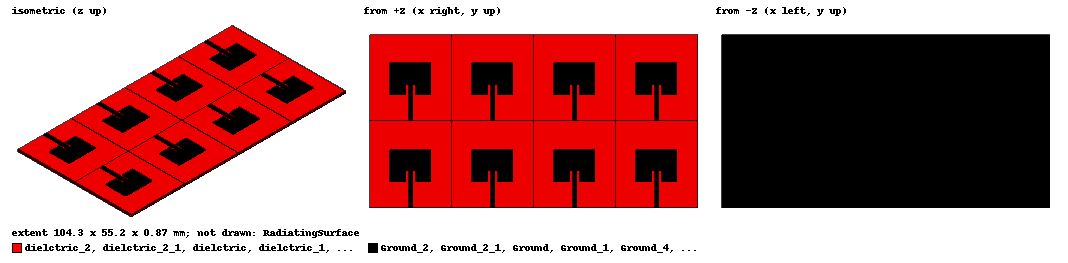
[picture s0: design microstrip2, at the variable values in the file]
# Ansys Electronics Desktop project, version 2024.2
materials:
  vacuum: permittivity=1
  copper: permeability=0.999991 conductivity=58000000
  FR4_epoxy: permittivity=4.4 dielectric_loss_tangent=0.02

design microstrip2 (HFSS, HFSS Modal Network, model units mm)
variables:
  T_diel = 0.8mm
  L = 9.99mm
  W = 13.04mm
  T = 0.035mm
  L_feed = 11.74mm
  W_feed = 1.53mm
  W_g = 2*W
  L_g = 1.5*L_feed+L
  T_g = T
  partial = 0.35
  L_offset = partial*L/2
  W_slot = 2*W_feed
  L_slot = L/2-L_offset
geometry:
  Ground [copper] = box(corner=(-W_g/2, 0mm, 0mm), size=(W_g, L_g, T_g))
  coordinate_system diel_bottom = origin=(0mm, 0mm, T_g) x=(1mm, 0mm, 0mm) y=(0mm, 1mm, 0mm)
  dielctric [FR4_epoxy] = box(corner=(-W_g/2, 0mm, 0mm), size=(W_g, L_g, T_diel)) in diel_bottom
  coordinate_system diel_top = origin=(0mm, 0mm, T_diel) x=(1mm, 0mm, 0mm) y=(0mm, 1mm, 0mm) in diel_bottom
  feed [copper] = box(corner=(-W_feed/2, 0mm, 0mm), size=(W_feed, L_feed, T)) in diel_top
  coordinate_system feed_point = origin=(0mm, L_feed, 0mm) x=(1mm, 0mm, 0mm) y=(0mm, 1mm, 0mm) in diel_top
  coordinate_system antenna_start = origin=(0, -L_slot, 0) x=(1mm, 0mm, 0mm) y=(0mm, 1mm, 0mm) in feed_point
  Box1 = box(corner=(-W_slot/2, 0mm, 0mm), size=(W_slot, L_slot, T)) in antenna_start
  patch [copper] = box(corner=(-W /2, 0, 0mm), size=(W, L, T)) in antenna_start
  patch.subtract(Box1)
  Rectangle1 = rectangle(corner=(-W_feed/2, 0mm, 0mm), z_size=T_g+T+T_diel, x_size=W_feed)
  coordinate_system antenna2 = origin=(W_g/2, 0mm, 0mm) x=(1mm, 0mm, 0mm) y=(0mm, 1mm, 0mm)
  dielctric_1, dielctric_2, dielctric_3 [FR4_epoxy] = dielctric.duplicate_along_line(step=(W_g, 0mm, 0mm), total=4) in antenna2
  Ground_1, Ground_2, Ground_3 [copper] = Ground.duplicate_along_line(step=(W_g, 0mm, 0mm), total=4) in antenna2
  feed_1, feed_2, feed_3 [copper] = feed.duplicate_along_line(step=(W_g, 0mm, 0), total=4) in diel_top
  patch_1, patch_2, patch_3 [copper] = patch.duplicate_along_line(step=(W_g, 0, 0mm), total=4) in diel_top
  Rectangle1_1, Rectangle1_2, Rectangle1_3 = Rectangle1.duplicate_along_line(step=(26mm, 0mm, 0mm), total=4) in feed_point
  RadiatingSurface [vacuum] = region(absolute_offset=14.285714mm on all sides) in feed_point
  Ground_4 [copper] = Ground.duplicate_along_line(step=(0mm, -27.6mm, 0mm), total=2) in feed_point
  dielctric_4 [FR4_epoxy] = dielctric.duplicate_along_line(step=(0mm, -27.6mm, 0mm), total=2) in feed_point
  feed_4 [copper] = feed.duplicate_along_line(step=(0mm, -27.6mm, 0mm), total=2) in feed_point
  patch_4 [copper] = patch.duplicate_along_line(step=(0mm, -27.6mm, 0mm), total=2) in feed_point
  Rectangle1_4 = Rectangle1.duplicate_along_line(step=(0mm, -27.6mm, 0mm), total=2) in feed_point
  dielctric_1_1 [FR4_epoxy] = dielctric_1.duplicate_along_line(step=(0mm, -27.6mm, 0mm), total=2) in feed_point
  dielctric_2_1 [FR4_epoxy] = dielctric_2.duplicate_along_line(step=(0mm, -27.6mm, 0mm), total=2) in feed_point
  dielctric_3_1 [FR4_epoxy] = dielctric_3.duplicate_along_line(step=(0mm, -27.6mm, 0mm), total=2) in feed_point
  Ground_1_1 [copper] = Ground_1.duplicate_along_line(step=(0mm, -27.6mm, 0mm), total=2) in feed_point
  Ground_2_1 [copper] = Ground_2.duplicate_along_line(step=(0mm, -27.6mm, 0mm), total=2) in feed_point
  Ground_3_1 [copper] = Ground_3.duplicate_along_line(step=(0mm, -27.6mm, 0mm), total=2) in feed_point
  feed_1_1 [copper] = feed_1.duplicate_along_line(step=(0mm, -27.6mm, 0mm), total=2) in feed_point
  feed_2_1 [copper] = feed_2.duplicate_along_line(step=(0mm, -27.6mm, 0mm), total=2) in feed_point
  feed_3_1 [copper] = feed_3.duplicate_along_line(step=(0mm, -27.6mm, 0mm), total=2) in feed_point
  patch_1_1 [copper] = patch_1.duplicate_along_line(step=(0mm, -27.6mm, 0mm), total=2) in feed_point
  patch_2_1 [copper] = patch_2.duplicate_along_line(step=(0mm, -27.6mm, 0mm), total=2) in feed_point
  patch_3_1 [copper] = patch_3.duplicate_along_line(step=(0mm, -27.6mm, 0mm), total=2) in feed_point
  Rectangle1_1_1 = Rectangle1_1.duplicate_along_line(step=(0mm, -27.6mm, 0mm), total=2) in feed_point
  Rectangle1_2_1 = Rectangle1_2.duplicate_along_line(step=(0mm, -27.6mm, 0mm), total=2) in feed_point
  Rectangle1_3_1 = Rectangle1_3.duplicate_along_line(step=(0mm, -27.6mm, 0mm), total=2) in feed_point
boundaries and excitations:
  Open1: Radiation Objects=RadiatingSurface
  1: Lumped Port Objects=Rectangle1 LumpedPortType=Modal Modes{Mode1{IntLine{(0, 0, 0) -> (0, 0, 0.87)} CharImp=Zpi RenormImp=50ohm}} Impedance=50ohm
  2: Lumped Port Objects=Rectangle1_1 LumpedPortType=Modal Modes{Mode1{IntLine{(26, 0, 0) -> (26, 0, 0.87)} CharImp=Zpi RenormImp=50ohm}} Impedance=50ohm
  3: Lumped Port Objects=Rectangle1_2 LumpedPortType=Modal Modes{Mode1{IntLine{(52, 0, 0) -> (52, 0, 0.87)} CharImp=Zpi RenormImp=50ohm}} Impedance=50ohm
  4: Lumped Port Objects=Rectangle1_3 LumpedPortType=Modal Modes{Mode1{IntLine{(78, 0, 0) -> (78, 0, 0.87)} CharImp=Zpi RenormImp=50ohm}} Impedance=50ohm
  5: Lumped Port Objects=Rectangle1_4 LumpedPortType=Modal Modes{Mode1{IntLine{(0, -27.6, 0) -> (0, -27.6, 0.87)} CharImp=Zpi RenormImp=50ohm}} Impedance=50ohm
  6: Lumped Port Objects=Rectangle1_1_1 LumpedPortType=Modal Modes{Mode1{IntLine{(26, -27.6, 0) -> (26, -27.6, 0.87)} CharImp=Zpi RenormImp=50ohm}} Impedance=50ohm
  7: Lumped Port Objects=Rectangle1_2_1 LumpedPortType=Modal Modes{Mode1{IntLine{(52, -27.6, 0) -> (52, -27.6, 0.87)} CharImp=Zpi RenormImp=50ohm}} Impedance=50ohm
  8: Lumped Port Objects=Rectangle1_3_1 LumpedPortType=Modal Modes{Mode1{IntLine{(78, -27.6, 0) -> (78, -27.6, 0.87)} CharImp=Zpi RenormImp=50ohm}} Impedance=50ohm
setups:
  Setup1: HfssDriven MultipleAdaptiveFreqsSetup{Low=2GHz High=11GHz} MaxDeltaS=0.02 MaximumPasses=6 MinimumPasses=1 MinimumConvergedPasses=1 PercentRefinement=30 BasisOrder=1 PortAccuracy=2 DrivenSolverType="Direct Solver"
    sweep Sweep: 2GHz to 11GHz, 401 points; Type=Interpolating InterpTolerance=0.5 InterpMaxSolns=250 InterpUsePortImped=false PassivityErrorTolerance=0.0001
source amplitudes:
  1:1, 2:1, 3:1, 4:1, 5:1, 6:1, 7:1, 8:1: 1V 0deg
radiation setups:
  3D: Infinite Sphere Theta=0deg..180deg step 2deg Phi=-180deg..180deg step 2deg CoordSystem=feed_point
  Elevation: Infinite Sphere Theta=-180deg..180deg step 1deg Phi=0deg..90deg step 90deg CoordSystem=feed_point
  Azimuth: Infinite Sphere Theta=90deg..90deg step 0deg Phi=-180deg..180deg step 1deg CoordSystem=feed_point
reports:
  S Parameter Plot 1: dB(S(1,1)) vs Freq on Setup1 : Sweep
